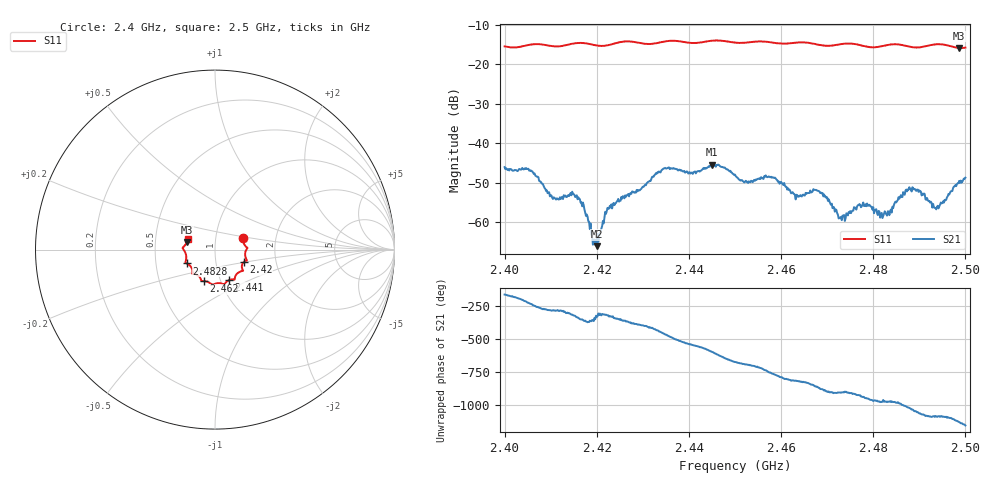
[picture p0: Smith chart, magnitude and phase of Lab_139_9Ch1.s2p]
# Hz S RI R 50
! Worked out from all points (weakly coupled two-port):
!   601 points, 2.4 GHz to 2.5 GHz, reference 50 ohm
!   highest |S21| = -45.35 dB at 2.445 GHz (marker M1); lowest = -66.0 dB at 2.42 GHz (marker M2)
!   lowest |S11| = -15.8 dB at 2.4987 GHz (marker M3), VSWR 1.39, Z = 36.4 + j3.13 ohm
!   |S11| at or under -10 dB: start of sweep to end of sweep
!   S12 and S22 are empty: the file has one direction only
!   S11 on the Smith chart (normalised r, x): 2.4 GHz: 1.36, +0.18; 2.42 GHz: 1.36, -0.20; 2.441 GHz: 1.10, -0.39; 2.462 GHz: 0.84, -0.30; 2.4828 GHz: 0.72, -0.11; 2.5 GHz: 0.73, +0.09
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2.4e9  0.1574 0.063  -0.00475 -0.00159  0 0  0 0
2.405167e9  0.1761 0.0139  -0.00345 0.00332  0 0  0 0
2.410667e9  0.1694 -0.0128  0.000422 0.00204  0 0  0 0
2.416667e9  0.1777 -0.0601  0.00177 0.000307  0 0  0 0
2.419333e9  0.1641 -0.0657  0.000572 -2.26e-05  0 0  0 0
2.42e9  0.1594 -0.0698  0.000439 0.000239  0 0  0 0
2.422667e9  0.1494 -0.0941  0.00127 0.000798  0 0  0 0
2.433333e9  0.1124 -0.1508  0.00114 -0.00411  0 0  0 0
2.441e9  0.0784 -0.1696  -0.00428 0.000459  0 0  0 0
2.445e9  0.0531 -0.193  -0.00311 0.00442  0 0  0 0
2.45e9  0.0285 -0.1872  0.00271 0.00298  0 0  0 0
2.458333e9  -0.027 -0.1869  0.00272 -0.00252  0 0  0 0
2.462e9  -0.0604 -0.1756  8.53e-05 -0.00248  0 0  0 0
2.466667e9  -0.0779 -0.1682  -0.00132 -0.00202  0 0  0 0
2.472833e9  -0.1196 -0.1352  -0.00115 5.98e-05  0 0  0 0
2.477333e9  -0.1257 -0.1216  -0.0013 0.000851  0 0  0 0
2.482833e9  -0.1578 -0.0773  -0.000403 0.0012  0 0  0 0
2.483333e9  -0.1608 -0.076  -0.000407 0.00131  0 0  0 0
2.488167e9  -0.16 -0.0473  0.00154 0.00212  0 0  0 0
2.493833e9  -0.1805 0.00759  0.00156 -0.000193  0 0  0 0
2.498667e9  -0.1563 0.0419  0.0023 -0.00245  0 0  0 0
2.5e9  -0.1518 0.0612  0.00114 -0.0035  0 0  0 0
